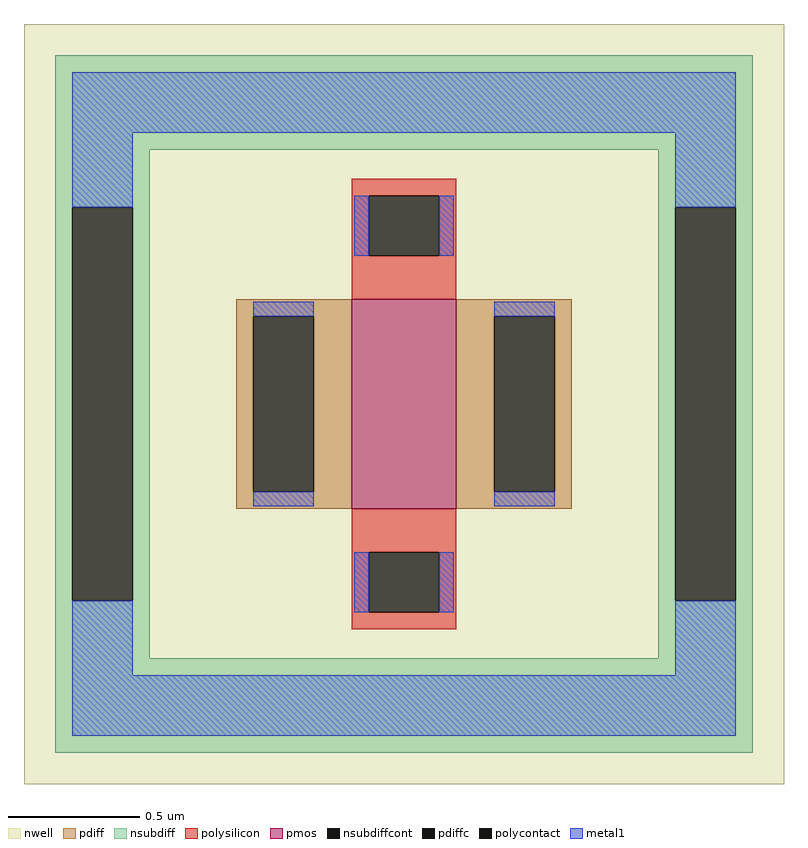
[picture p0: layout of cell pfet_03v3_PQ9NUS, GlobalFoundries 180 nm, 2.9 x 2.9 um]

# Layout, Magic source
magic
tech gf180mcuD
magscale 1 10
<< nwell >>
rect -290 -290 290 290
<< pmos >>
rect -40 -80 40 80
<< pdiff >>
rect -128 67 -40 80
rect -128 -67 -115 67
rect -69 -67 -40 67
rect -128 -80 -40 -67
rect 40 67 128 80
rect 40 -67 69 67
rect 115 -67 128 67
rect 40 -80 128 -67
<< pdiffc >>
rect -115 -67 -69 67
rect 69 -67 115 67
<< nsubdiff >>
rect -266 194 266 266
rect -266 150 -194 194
rect -266 -150 -253 150
rect -207 -150 -194 150
rect 194 150 266 194
rect -266 -194 -194 -150
rect 194 -150 207 150
rect 253 -150 266 150
rect 194 -194 266 -150
rect -266 -266 266 -194
<< nsubdiffcont >>
rect -253 -150 -207 150
rect 207 -150 253 150
<< polysilicon >>
rect -40 159 40 172
rect -40 113 -27 159
rect 27 113 40 159
rect -40 80 40 113
rect -40 -113 40 -80
rect -40 -159 -27 -113
rect 27 -159 40 -113
rect -40 -172 40 -159
<< polycontact >>
rect -27 113 27 159
rect -27 -159 27 -113
<< metal1 >>
rect -253 207 253 253
rect -253 150 -207 207
rect -38 113 -27 159
rect 27 113 38 159
rect 207 150 253 207
rect -115 67 -69 78
rect -115 -78 -69 -67
rect 69 67 115 78
rect 69 -78 115 -67
rect -253 -207 -207 -150
rect -38 -159 -27 -113
rect 27 -159 38 -113
rect 207 -207 253 -150
rect -253 -253 253 -207
<< properties >>
string FIXED_BBOX -230 -230 230 230
string gencell pfet_03v3
string library gf180mcu
string parameters w 0.8 l 0.4 m 1 nf 1 diffcov 100 polycov 100 guard 1 glc 1 grc 1 gtc 0 gbc 0 tbcov 100 rlcov 100 topc 1 botc 1 poverlap 0 doverlap 1 lmin 0.28 wmin 0.22 class mosfet full_metal 1 compatible {pfet_03v3 pfet_06v0} ad {int((nf+1)/2) * W/nf * 0.18u} as {int((nf+2)/2) * W/nf * 0.18u} pd {2*int((nf+1)/2) * (W/nf + 0.18u)} ps {2*int((nf+2)/2) * (W/nf + 0.18u)} nrd {0.18u / W} nrs {0.18u / W} sa 0 sb 0 sd 0
<< end >>
